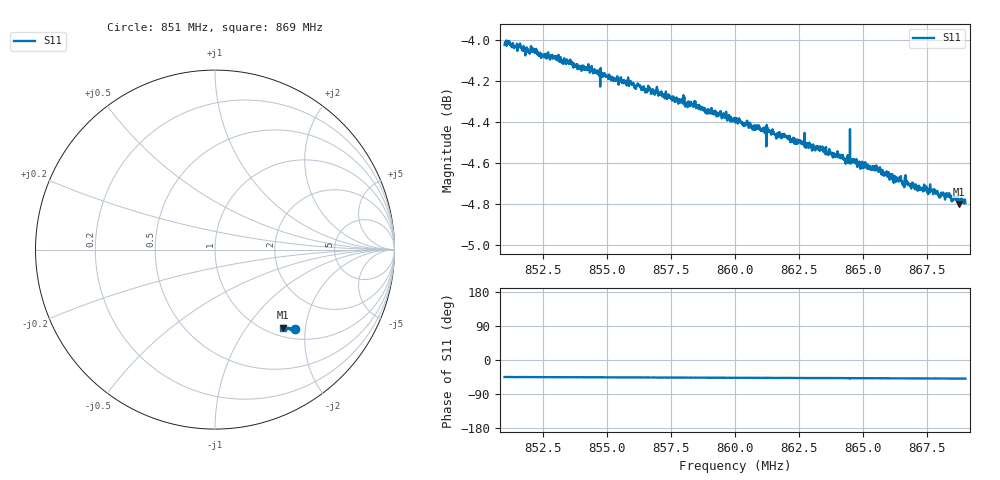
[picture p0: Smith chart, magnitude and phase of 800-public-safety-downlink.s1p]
! Calibrated averaged scanner-service zoom
# Hz S RI R 50
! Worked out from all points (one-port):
!   2001 points, 851 MHz to 869 MHz, reference 50 ohm
!   lowest |S11| = -4.8 dB at 868.75 MHz (marker M1), VSWR 3.71, Z = 58.1 - j75.4 ohm
!   |S11| at or under -10 dB: nowhere
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8.51e8  0.4458 -0.444
8.5163e8  0.4438 -0.4443
8.51882e8  0.4435 -0.4439
8.5208e8  0.4414 -0.4447
8.5235e8  0.4403 -0.4445
8.52665e8  0.4404 -0.445
8.5325e8  0.4377 -0.444
8.53547e8  0.4365 -0.4441
8.53952e8  0.435 -0.443
8.54438e8  0.4326 -0.4439
8.555e8  0.4293 -0.4436
8.56895e8  0.4242 -0.4415
8.5775e8  0.4206 -0.4411
8.58362e8  0.4179 -0.4415
8.58812e8  0.4162 -0.4409
8.6e8  0.4121 -0.4393
8.6225e8  0.4029 -0.439
8.6342e8  0.4 -0.4396
8.64302e8  0.3951 -0.4375
8.645e8  0.3951 -0.438
8.64698e8  0.3943 -0.4375
8.6486e8  0.3944 -0.438
8.65103e8  0.3939 -0.4377
8.65598e8  0.3914 -0.4365
8.6612e8  0.3889 -0.4364
8.6675e8  0.3854 -0.4358
8.68748e8  0.3777 -0.4342
8.69e8  0.3774 -0.4349
